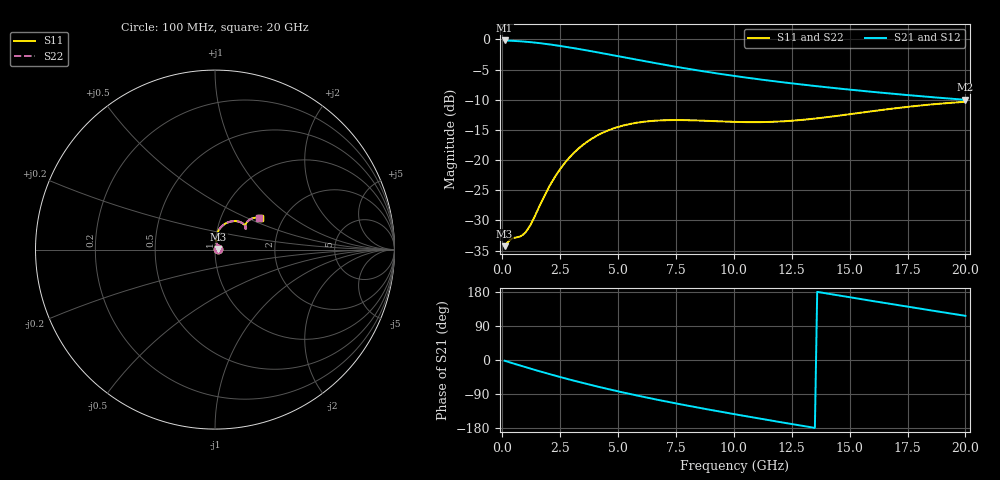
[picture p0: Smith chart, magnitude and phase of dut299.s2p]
! Touchstone file exported from HFSS 2024.1.0
!  File:  C:/UserFiles/LocalFiles/RDL_TSV_Batchsim/temp_RDL_TSV_299_1779469072.aedt
!  Generated:  01:13:05 AM May 23, 2026
!  Design:  RDL_TSV
!  Project:  temp_RDL_TSV_299_1779469072
!  Setup:  Setup1
!  Solution:  Sweep
! Variables:
!  dtsv = 6.47um
!  hbump = 3um
!  htsv = 96.39um
!  ldown = 649.01um
!  lrdl = 379.31um
!  p = 40
!  p1 = 42.89um
!  rhole = 10um
!  subl = 3464.27um
!  t = 450um
!  tdown = 2.9um
!  trdl = 3.25um
!  viad = 10um
!  wdown = 25.95um
!  wrdl = 20.2um
!  xbump = 18um
# GHz S MA R 50.000000
! Terminal data exported
! Port[1] = TM1_1_T1
! Port[2] = TM1_4_T1
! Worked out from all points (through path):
!   200 points, 100 MHz to 20 GHz, reference 50 ohm
!   highest |S21| = -0.17 dB at 100 MHz (marker M1); lowest = -10.0 dB at 20 GHz (marker M2)
!   group delay of S21, straight-line fit = 32.3 ps
!   lowest |S11| = -34.3 dB at 100 MHz (marker M3), VSWR 1.04, Z = 52 + j0.296 ohm
!   |S11| at or under -10 dB: start of sweep to end of sweep
!   |S22| runs from -34.3 to -10.4 dB; largest |S21 - S12| = 1e-14
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0.1  0.01936 8.5  0.9806 -2.0  0.9806 -2.0  0.01936 8.5
! Gamma 0 0 0 0
! Port Impedance 50 0 50 0
0.4  0.02224 22.6  0.975 -7.7  0.975 -7.7  0.02224 22.6
0.8  0.02348 40.6  0.9644 -15.1  0.9644 -15.1  0.02348 40.6
1  0.02517 52.5  0.9577 -18.8  0.9577 -18.8  0.02518 52.5
1.3  0.03118 68.7  0.946 -24.2  0.946 -24.2  0.03118 68.6
1.9  0.0542 83.3  0.917 -34.8  0.917 -34.8  0.05417 83.2
2.2  0.06884 84.3  0.9004 -39.9  0.9004 -39.9  0.06879 84.3
2.6  0.08953 82.7  0.8769 -46.6  0.8769 -46.6  0.08945 82.6
3  0.1102 79.3  0.8523 -53.1  0.8523 -53.1  0.1101 79.2
3.5  0.1345 74.0  0.8207 -60.9  0.8207 -60.9  0.1343 73.9
4.2  0.1636 66.1  0.7762 -71.4  0.7762 -71.4  0.1633 66.0
4.9  0.1856 58.6  0.7326 -81.4  0.7326 -81.4  0.1853 58.5
5.8  0.2039 50.2  0.6798 -93.5  0.6798 -93.5  0.2035 50.1
6.8  0.2132 42.9  0.6268 -106.1  0.6268 -106.1  0.2127 42.8
8.4  0.2131 35.9  0.5553 -125.0  0.5553 -125.0  0.2126 35.8
10.1  0.2072 34.2  0.4957 -143.8  0.4957 -143.8  0.2066 34.1
11.7  0.2077 36.2  0.4514 -160.7  0.4514 -160.7  0.207 36.2
13.4  0.2198 39.4  0.4134 -178.2  0.4134 -178.2  0.219 39.3
15.1  0.2414 40.9  0.382 164.6  0.382 164.6  0.2405 40.9
16.7  0.2649 40.4  0.357 148.7  0.357 148.7  0.2639 40.4
18.3  0.2865 38.3  0.3355 133.0  0.3355 133.0  0.2854 38.3
20  0.3042 35.3  0.316 116.6  0.316 116.6  0.3029 35.3
